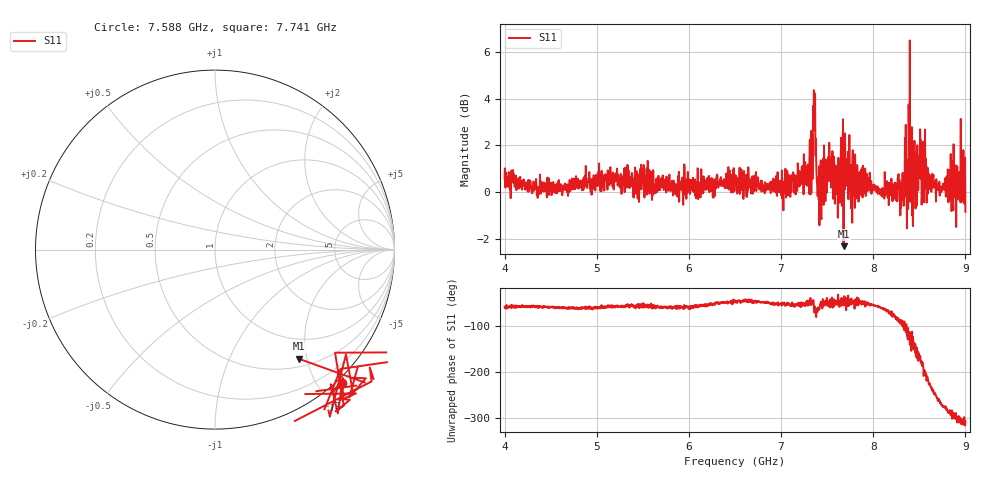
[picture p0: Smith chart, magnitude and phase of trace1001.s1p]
! Created with skrf 1.8.0 (http://scikit-rf.org).
# Hz S RI R 50.0
!freq ReS11 ImS11
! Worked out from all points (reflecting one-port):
!   1601 points, 4 GHz to 9 GHz, reference 50 ohm
!   lowest |S11| = -2.3 dB at 7.678 GHz (marker M1), VSWR 7.56, Z = 31.5 - j92.9 ohm
!   phase of S11 starts at -58 deg and turns -250 deg over the sweep
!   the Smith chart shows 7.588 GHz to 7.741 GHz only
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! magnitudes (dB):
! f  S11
! 4 GHz  0.6
! 4.625 GHz  -0.1
! 5.25 GHz  0.2
! 5.875 GHz  0.2
! 6.5 GHz  0.4
! 7.125 GHz  0.5
! 7.294 GHz  0.8
! 7.319 GHz  -0.1
! 7.356 GHz  4.4
! 7.369 GHz  4.2
! 7.412 GHz  1.1
! 7.509 GHz  0.7
! 7.609 GHz  1.0
! 7.678 GHz  -2.3
! 7.75 GHz  0.7
! 7.775 GHz  1.4
! 7.891 GHz  0.5
! 8.097 GHz  0.2
! 8.312 GHz  0.4
! 8.331 GHz  -0.6
! 8.356 GHz  1.6
! 8.375 GHz  0.7
! 8.447 GHz  2.2
! 8.497 GHz  1.6
! 8.603 GHz  0.8
! 8.722 GHz  -0.1
! 8.972 GHz  0.5
! 9 GHz  -0.8
